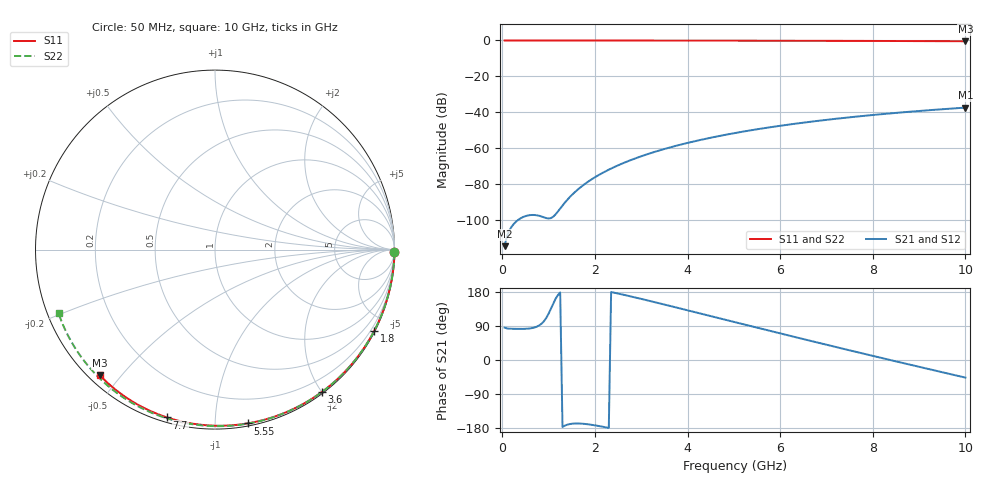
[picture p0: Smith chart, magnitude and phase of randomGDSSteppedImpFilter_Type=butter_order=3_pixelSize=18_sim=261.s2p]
! freq	dB(S11)	phase(S11)	dB(S12)	phase(S12)
!  dB(S21)	phase(S21)	dB(S22)	phase(S22)
!S-par simulation data
#  GHz  S  DB  R 50
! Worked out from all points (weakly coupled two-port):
!   200 points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, 50 MHz to 10 GHz, reference 50 ohm
!   highest |S21| = -37.50 dB at 10 GHz (marker M1); lowest = -114.9 dB at 50 MHz (marker M2)
!   lowest |S11| = -0.4 dB at 10 GHz (marker M3), VSWR 38.84, Z = 1.54 - j22 ohm
!   |S11| at or under -10 dB: nowhere
!   |S22| runs from -0.5 to 0.0 dB; largest |S21 - S12| = 0
!   S11 on the Smith chart (normalised r, x): 50 MHz: open; 1.8 GHz: 0.04, -4.13; 3.6 GHz: 0.02, -2.00; 5.55 GHz: 0.02, -1.20; 7.7 GHz: 0.02, -0.75; 10 GHz: 0.03, -0.44
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0.05  -0.00 -0.8  -114.87 85.5  -114.87 85.5  -0.00 -0.9
0.45  -0.01 -6.9  -98.60 82.1  -98.60 82.1  -0.01 -8.2
0.9  -0.02 -13.7  -98.77 102.4  -98.77 102.4  -0.02 -16.4
1.3  -0.02 -19.8  -92.18 -176.8  -92.18 -176.8  -0.03 -23.5
1.75  -0.03 -26.5  -80.76 -168.3  -80.76 -168.3  -0.04 -31.5
1.8  -0.03 -27.2  -79.81 -168.9  -79.81 -168.9  -0.04 -32.4
1.95  -0.04 -29.4  -77.20 -171.4  -77.20 -171.4  -0.04 -35.0
2.1  -0.04 -31.6  -74.89 -174.5  -74.89 -174.5  -0.05 -37.6
2.3  -0.04 -34.6  -72.15 -179.3  -72.15 -179.3  -0.05 -41.1
2.5  -0.05 -37.5  -69.73 175.4  -69.73 175.4  -0.06 -44.5
2.9  -0.06 -43.3  -65.59 164.2  -65.59 164.2  -0.07 -51.4
3.4  -0.07 -50.4  -61.36 149.4  -61.36 149.4  -0.08 -59.7
3.6  -0.07 -53.2  -59.88 143.4  -59.88 143.4  -0.08 -63.0
4.3  -0.09 -62.8  -55.42 122.0  -55.42 122.0  -0.11 -74.3
5.05  -0.11 -72.9  -51.57 99.1  -51.57 99.1  -0.13 -86.1
5.55  -0.13 -79.4  -49.40 83.9  -49.40 83.9  -0.15 -93.7
6.1  -0.15 -86.4  -47.28 67.2  -47.28 67.2  -0.18 -101.9
6.7  -0.18 -93.9  -45.25 49.2  -45.25 49.2  -0.22 -110.7
7.7  -0.24 -105.9  -42.38 19.6  -42.38 19.6  -0.29 -125.0
8.35  -0.29 -113.6  -40.79 0.7  -40.79 0.7  -0.34 -134.2
9.2  -0.36 -123.4  -38.97 -23.7  -38.97 -23.7  -0.43 -146.3
10  -0.45 -132.5  -37.50 -46.5  -37.50 -46.5  -0.53 -157.9
